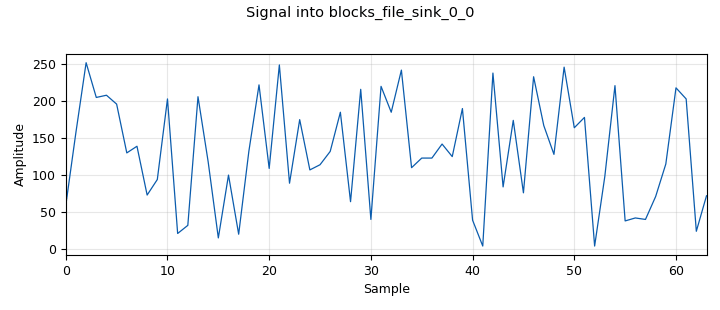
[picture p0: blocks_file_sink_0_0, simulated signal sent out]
options:
  parameters:
    author: artis
    generate_options: qt_gui
    id: pdu_add_sync_word_example
    output_language: python
    title: pdu_add_sync_word_example
  states: {}

blocks:
- name: samp_rate
  id: variable
  parameters:
    value: '32000'
  states: {}
- name: analog_random_source_x_0
  id: analog_random_source_x
  parameters:
    max: '2'
    min: '0'
    num_samps: '1000'
    repeat: 'True'
    type: byte
  states: {}
- name: blocks_file_sink_0
  id: blocks_file_sink
  parameters:
    file: /home/artis/Downloads/simple_modem_random_plus_13syncw.bin
    type: byte
  states: {}
- name: blocks_file_sink_0_0
  id: blocks_file_sink
  parameters:
    file: /home/artis/Downloads/simple_modem_random.bin
    type: byte
  states: {}
- name: blocks_pdu_to_tagged_stream_0
  id: blocks_pdu_to_tagged_stream
  parameters:
    tag: packet_len
    type: byte
  states: {}
- name: blocks_stream_to_tagged_stream_0
  id: blocks_stream_to_tagged_stream
  parameters:
    len_tag_key: '"packet_len"'
    packet_len: '16'
    type: byte
  states: {}
- name: blocks_tagged_stream_to_pdu_0
  id: blocks_tagged_stream_to_pdu
  parameters:
    tag: packet_len
    type: byte
  states: {}
- name: blocks_throttle_0
  id: blocks_throttle
  parameters:
    samples_per_second: samp_rate
    type: byte
  states: {}
- name: blocks_unpacked_to_packed_xx_0
  id: blocks_unpacked_to_packed_xx
  parameters:
    bits_per_chunk: '1'
    endianness: gr.GR_MSB_FIRST
    type: byte
  states: {}
- name: chat_modem_pdu_add_sync_word_0
  id: chat_modem_pdu_add_sync_word
  parameters:
    sync_word: '114'
  states: {}

connections:
- [analog_random_source_x_0, '0', blocks_throttle_0, '0']
- [blocks_pdu_to_tagged_stream_0, '0', blocks_file_sink_0, '0']
- [blocks_stream_to_tagged_stream_0, '0', blocks_unpacked_to_packed_xx_0, '0']
- [blocks_tagged_stream_to_pdu_0, pdus, chat_modem_pdu_add_sync_word_0, msg_in]
- [blocks_throttle_0, '0', blocks_stream_to_tagged_stream_0, '0']
- [blocks_unpacked_to_packed_xx_0, '0', blocks_file_sink_0_0, '0']
- [blocks_unpacked_to_packed_xx_0, '0', blocks_tagged_stream_to_pdu_0, '0']
- [chat_modem_pdu_add_sync_word_0, msg_out, blocks_pdu_to_tagged_stream_0, pdus]

metadata:
  file_format: 1
